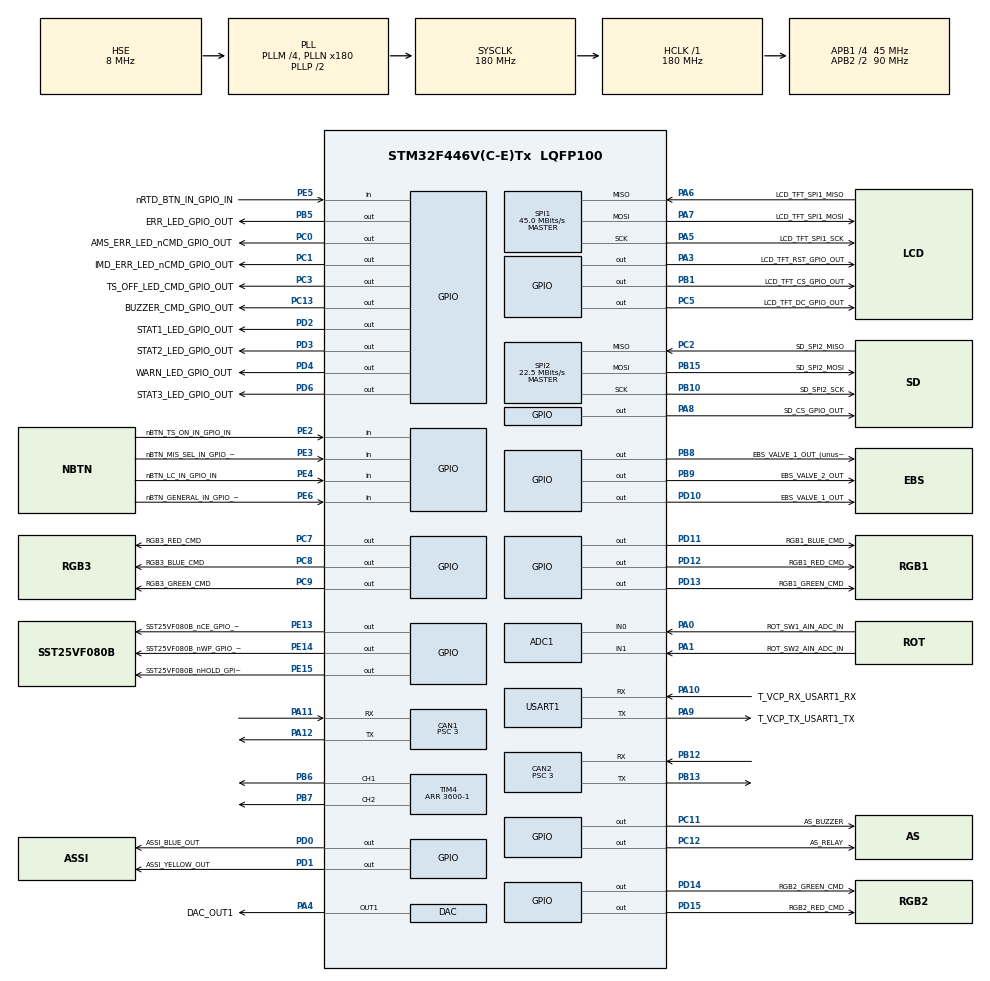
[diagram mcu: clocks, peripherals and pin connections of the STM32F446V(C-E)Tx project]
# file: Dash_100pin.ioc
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ADC1.Channel-0\#ChannelRegularConversion=ADC_CHANNEL_0
ADC1.Channel-1\#ChannelRegularConversion=ADC_CHANNEL_1
ADC1.ClockPrescaler=ADC_CLOCK_SYNC_PCLK_DIV4
ADC1.DMAContinuousRequests=ENABLE
ADC1.EOCSelection=ADC_EOC_SEQ_CONV
ADC1.ExternalTrigConv=ADC_EXTERNALTRIGCONV_T2_TRGO
ADC1.NbrOfConversion=2
ADC1.NbrOfConversionFlag=1
ADC1.Rank-0\#ChannelRegularConversion=1
ADC1.Rank-1\#ChannelRegularConversion=2
ADC1.SamplingTime-0\#ChannelRegularConversion=ADC_SAMPLETIME_480CYCLES
ADC1.SamplingTime-1\#ChannelRegularConversion=ADC_SAMPLETIME_480CYCLES
ADC1.ScanConvMode=ENABLE
ADC1.master=1
CAN1.ABOM=ENABLE
CAN1.BS1=CAN_BS1_12TQ
CAN1.BS2=CAN_BS2_2TQ
CAN1.CalculateBaudRate=1000000
CAN1.CalculateTimeBit=1000
CAN1.CalculateTimeQuantum=66.66666666666666
CAN1.Prescaler=3
CAN2.ABOM=ENABLE
CAN2.BS1=CAN_BS1_12TQ
CAN2.BS2=CAN_BS2_2TQ
CAN2.CalculateBaudRate=1000000
CAN2.CalculateTimeBit=1000
CAN2.CalculateTimeQuantum=66.66666666666666
CAN2.Prescaler=3
Dma.ADC1.1.Direction=DMA_PERIPH_TO_MEMORY
Dma.ADC1.1.FIFOMode=DMA_FIFOMODE_DISABLE
Dma.ADC1.1.Instance=DMA2_Stream0
Dma.ADC1.1.MemDataAlignment=DMA_MDATAALIGN_HALFWORD
Dma.ADC1.1.MemInc=DMA_MINC_ENABLE
Dma.ADC1.1.Mode=DMA_CIRCULAR
Dma.ADC1.1.PeriphDataAlignment=DMA_PDATAALIGN_HALFWORD
Dma.ADC1.1.PeriphInc=DMA_PINC_DISABLE
Dma.ADC1.1.Priority=DMA_PRIORITY_LOW
Dma.Request0=SPI1_TX
Dma.Request1=ADC1
Dma.SPI1_TX.0.Direction=DMA_MEMORY_TO_PERIPH
Dma.SPI1_TX.0.FIFOMode=DMA_FIFOMODE_DISABLE
Dma.SPI1_TX.0.Instance=DMA2_Stream3
Dma.SPI1_TX.0.MemDataAlignment=DMA_MDATAALIGN_BYTE
Dma.SPI1_TX.0.MemInc=DMA_MINC_ENABLE
Dma.SPI1_TX.0.Mode=DMA_NORMAL
Dma.SPI1_TX.0.PeriphDataAlignment=DMA_PDATAALIGN_BYTE
Dma.SPI1_TX.0.PeriphInc=DMA_PINC_DISABLE
Dma.SPI1_TX.0.Priority=DMA_PRIORITY_LOW
Mcu.Family=STM32F4
Mcu.Name=STM32F446V(C-E)Tx
Mcu.Package=LQFP100
NVIC.ADC_IRQn=true\:0\:0\:false\:false\:true\:true\:true\:true
NVIC.CAN1_RX0_IRQn=true\:0\:0\:false\:false\:true\:true\:true\:true
NVIC.CAN1_RX1_IRQn=true\:0\:0\:false\:false\:true\:true\:true\:true
NVIC.CAN1_TX_IRQn=true\:0\:0\:false\:false\:true\:true\:true\:true
NVIC.CAN2_RX0_IRQn=true\:0\:0\:false\:false\:true\:true\:true\:true
NVIC.CAN2_RX1_IRQn=true\:0\:0\:false\:false\:true\:true\:true\:true
NVIC.CAN2_TX_IRQn=true\:0\:0\:false\:false\:true\:true\:true\:true
NVIC.DMA2_Stream0_IRQn=true\:0\:0\:false\:false\:true\:false\:true\:true
NVIC.DMA2_Stream3_IRQn=true\:0\:0\:false\:false\:true\:false\:true\:true
NVIC.PriorityGroup=NVIC_PRIORITYGROUP_4
NVIC.SPI1_IRQn=true\:0\:0\:false\:false\:true\:true\:true\:true
NVIC.TIM2_IRQn=true\:0\:0\:false\:false\:true\:true\:true\:true
NVIC.TIM7_IRQn=true\:0\:0\:false\:false\:true\:true\:true\:true
PA0-WKUP.GPIO_Label=ROT_SW1_AIN_ADC_IN
PA0-WKUP.Signal=ADCx_IN0
PA1.GPIO_Label=ROT_SW2_AIN_ADC_IN
PA1.Signal=ADCx_IN1
PA10.GPIO_Label=T_VCP_RX_USART1_RX
PA10.Mode=Asynchronous
PA10.Signal=USART1_RX
PA11.Mode=CAN_Activate
PA11.Signal=CAN1_RX
PA12.Mode=CAN_Activate
PA12.Signal=CAN1_TX
PA13.Mode=JTAG_4_pins
PA13.Signal=SYS_JTMS-SWDIO
PA14.Mode=JTAG_4_pins
PA14.Signal=SYS_JTCK-SWCLK
PA15.Mode=JTAG_4_pins
PA15.Signal=SYS_JTDI
PA2.GPIO_Label=SDC_IN_3V3_ADC1_IN2
PA2.Signal=ADCx_IN2
PA3.GPIO_Label=LCD_TFT_RST_GPIO_OUT
PA3.PinState=GPIO_PIN_SET
PA3.Signal=GPIO_Output
PA4.GPIO_Label=DAC_OUT1
PA4.Signal=COMP_DAC1_group
PA5.GPIO_Label=LCD_TFT_SPI1_SCK
PA5.Mode=Full_Duplex_Master
PA5.Signal=SPI1_SCK
PA6.GPIO_Label=LCD_TFT_SPI1_MISO
PA6.Mode=Full_Duplex_Master
PA6.Signal=SPI1_MISO
PA7.GPIO_Label=LCD_TFT_SPI1_MOSI
PA7.Mode=Full_Duplex_Master
PA7.Signal=SPI1_MOSI
PA8.GPIO_Label=SD_CS_GPIO_OUT
PA8.Signal=GPIO_Output
PA9.GPIO_Label=T_VCP_TX_USART1_TX
PA9.Mode=Asynchronous
PA9.Signal=USART1_TX
PB1.GPIO_Label=LCD_TFT_CS_GPIO_OUT
PB1.GPIO_Speed=GPIO_SPEED_FREQ_VERY_HIGH
PB1.Signal=GPIO_Output
PB10.GPIO_Label=SD_SPI2_SCK
PB10.Mode=Full_Duplex_Master
PB10.Signal=SPI2_SCK
PB12.Mode=CAN_Activate
PB12.Signal=CAN2_RX
PB13.Mode=CAN_Activate
PB13.Signal=CAN2_TX
PB15.GPIO_Label=SD_SPI2_MOSI
PB15.Mode=Full_Duplex_Master
PB15.Signal=SPI2_MOSI
PB3.Mode=JTAG_4_pins
PB3.Signal=SYS_JTDO-SWO
PB5.GPIO_Label=ERR_LED_GPIO_OUT
PB5.Signal=GPIO_Output
PB6.Signal=S_TIM4_CH1
PB7.Signal=S_TIM4_CH2
PB8.GPIO_Label=EBS_VALVE_1_OUT_(unused)
PB8.Signal=GPIO_Output
PB9.GPIO_Label=EBS_VALVE_2_OUT
PB9.Signal=GPIO_Output
PC0.GPIO_Label=AMS_ERR_LED_nCMD_GPIO_OUT
PC0.Signal=GPIO_Output
PC1.GPIO_Label=IMD_ERR_LED_nCMD_GPIO_OUT
PC1.Signal=GPIO_Output
PC11.GPIO_Label=AS_BUZZER
PC11.Signal=GPIO_Output
PC12.GPIO_Label=AS_RELAY
PC12.GPIO_PuPd=GPIO_NOPULL
PC12.Signal=GPIO_Output
PC13.GPIO_Label=BUZZER_CMD_GPIO_OUT
PC13.Signal=GPIO_Output
PC2.GPIO_Label=SD_SPI2_MISO
PC2.Mode=Full_Duplex_Master
PC2.Signal=SPI2_MISO
PC3.GPIO_Label=TS_OFF_LED_CMD_GPIO_OUT
PC3.Signal=GPIO_Output
PC5.GPIO_Label=LCD_TFT_DC_GPIO_OUT
PC5.GPIO_Speed=GPIO_SPEED_FREQ_VERY_HIGH
PC5.PinState=GPIO_PIN_SET
PC5.Signal=GPIO_Output
PC7.GPIO_Label=RGB3_RED_CMD
PC7.Signal=GPIO_Output
PC8.GPIO_Label=RGB3_BLUE_CMD
PC8.Signal=GPIO_Output
PC9.GPIO_Label=RGB3_GREEN_CMD
PC9.Signal=GPIO_Output
PD0.GPIO_Label=ASSI_BLUE_OUT
PD0.GPIO_PuPd=GPIO_NOPULL
PD0.Signal=GPIO_Output
PD1.GPIO_Label=ASSI_YELLOW_OUT
PD1.GPIO_PuPd=GPIO_NOPULL
PD1.Signal=GPIO_Output
PD10.GPIO_Label=EBS_VALVE_1_OUT
PD10.Signal=GPIO_Output
PD11.GPIO_Label=RGB1_BLUE_CMD
PD11.Signal=GPIO_Output
PD12.GPIO_Label=RGB1_RED_CMD
PD12.Signal=GPIO_Output
PD13.GPIO_Label=RGB1_GREEN_CMD
PD13.Signal=GPIO_Output
PD14.GPIO_Label=RGB2_GREEN_CMD
PD14.Signal=GPIO_Output
PD15.GPIO_Label=RGB2_RED_CMD
PD15.Signal=GPIO_Output
PD2.GPIO_Label=STAT1_LED_GPIO_OUT
PD2.Signal=GPIO_Output
PD3.GPIO_Label=STAT2_LED_GPIO_OUT
PD3.Signal=GPIO_Output
PD4.GPIO_Label=WARN_LED_GPIO_OUT
PD4.Signal=GPIO_Output
PD6.GPIO_Label=STAT3_LED_GPIO_OUT
PD6.Signal=GPIO_Output
PE13.GPIO_Label=SST25VF080B_nCE_GPIO_OUT
PE13.Signal=GPIO_Output
PE14.GPIO_Label=SST25VF080B_nWP_GPIO_OUT
PE14.Signal=GPIO_Output
PE15.GPIO_Label=SST25VF080B_nHOLD_GPIO_OUT
PE15.Signal=GPIO_Output
PE2.GPIO_Label=nBTN_TS_ON_IN_GPIO_IN
PE2.Signal=GPIO_Input
PE3.GPIO_Label=nBTN_MIS_SEL_IN_GPIO_IN
PE3.Signal=GPIO_Input
PE4.GPIO_Label=nBTN_LC_IN_GPIO_IN
PE4.Signal=GPIO_Input
PE5.GPIO_Label=nRTD_BTN_IN_GPIO_IN
PE5.Signal=GPIO_Input
PE6.GPIO_Label=nBTN_GENERAL_IN_GPIO_IN
PE6.Signal=GPIO_Input
PH0-OSC_IN.Mode=HSE-External-Oscillator
PH0-OSC_IN.Signal=RCC_OSC_IN
PH1-OSC_OUT.Mode=HSE-External-Oscillator
PH1-OSC_OUT.Signal=RCC_OSC_OUT
ProjectManager.HeapSize=0x200
ProjectManager.StackSize=0x400
ProjectManager.TargetToolchain=Makefile
RCC.AHBFreq_Value=180000000
RCC.APB1CLKDivider=RCC_HCLK_DIV4
RCC.APB1Freq_Value=45000000
RCC.APB1TimFreq_Value=90000000
RCC.APB2CLKDivider=RCC_HCLK_DIV2
RCC.APB2Freq_Value=90000000
RCC.APB2TimFreq_Value=180000000
RCC.CortexFreq_Value=180000000
RCC.HCLKFreq_Value=180000000
RCC.HSE_VALUE=8000000
RCC.PLLM=4
RCC.PLLN=180
RCC.PLLSourceVirtual=RCC_PLLSOURCE_HSE
RCC.SYSCLKFreq_VALUE=180000000
RCC.SYSCLKSource=RCC_SYSCLKSOURCE_PLLCLK
RCC.USBFreq_Value=180000000
RCC.VCOOutputFreq_Value=360000000
SH.ADCx_IN0.0=ADC1_IN0,IN0
SH.ADCx_IN1.0=ADC1_IN1,IN1
SH.ADCx_IN2.0=ADC1_IN2
SH.COMP_DAC1_group.0=DAC_OUT1,DAC_OUT1
SH.S_TIM4_CH1.0=TIM4_CH1,PWM Generation1 CH1
SH.S_TIM4_CH2.0=TIM4_CH2,PWM Generation2 CH2
SPI1.BaudRatePrescaler=SPI_BAUDRATEPRESCALER_2
SPI1.CalculateBaudRate=45.0 MBits/s
SPI1.Direction=SPI_DIRECTION_2LINES
SPI1.Mode=SPI_MODE_MASTER
SPI1.VirtualType=VM_MASTER
SPI2.BaudRatePrescaler=SPI_BAUDRATEPRESCALER_2
SPI2.CalculateBaudRate=22.5 MBits/s
SPI2.Direction=SPI_DIRECTION_2LINES
SPI2.Mode=SPI_MODE_MASTER
SPI2.VirtualType=VM_MASTER
TIM10.Period=3600-1
TIM11.Period=3600-1
TIM2.Period=10-1
TIM2.Prescaler=9000-1
TIM2.TIM_MasterOutputTrigger=TIM_TRGO_UPDATE
TIM4.Channel-PWM\ Generation1\ CH1=TIM_CHANNEL_1
TIM4.Channel-PWM\ Generation2\ CH2=TIM_CHANNEL_2
TIM4.OCPolarity_1=TIM_OCPOLARITY_LOW
TIM4.OCPolarity_2=TIM_OCPOLARITY_LOW
TIM4.Period=3600-1
TIM7.AutoReloadPreload=TIM_AUTORELOAD_PRELOAD_ENABLE
TIM7.Period=10-1
TIM7.Prescaler=900-1
USART1.VirtualMode=VM_ASYNC
VP_TIM10_VS_ClockSourceINT.Mode=Enable_Timer
VP_TIM11_VS_ClockSourceINT.Mode=Enable_Timer
VP_TIM2_VS_ClockSourceINT.Mode=Internal
VP_TIM4_VS_ClockSourceINT.Mode=Internal
VP_TIM7_VS_ClockSourceINT.Mode=Enable_Timer
board=custom

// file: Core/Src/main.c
/* USER CODE BEGIN Header */
/**
  ******************************************************************************
  * @file           : main.c
  * @brief          : Main program body
  ******************************************************************************
  * @attention
  *
  * Copyright (c) 2024 STMicroelectronics.
  * All rights reserved.
  *
  * This software is licensed under terms that can be found in the LICENSE file
  * in the root directory of this software component.
  * If no LICENSE file comes with this software, it is provided AS-IS.
  *
  ******************************************************************************
  */
/* USER CODE END Header */
#include "main.h"
#include "adc.h"
#include "can.h"
#include "dac.h"
#include "dma.h"
#include "spi.h"
#include "tim.h"
#include "usart.h"
#include "gpio.h"

/* USER CODE BEGIN Includes */
#include "bsp.h"
#include "dashboard.h"
#include "lvgl.h"
#include <stdio.h>
/* USER CODE END Includes */

/* USER CODE BEGIN PV */
/*UART1 variabls*/
char msg[80]   = "";
char value[60] = "";
/* USER CODE END PV */

void SystemClock_Config(void);

int main(void)
{

  /* USER CODE BEGIN 1 */
  uint32_t AS_EM_time = 0;
  uint32_t WD_time = 0;
  int AS_EM_flag = 1;
  /* USER CODE END 1 */

  /* MCU Configuration--------------------------------------------------------*/

  /* Reset of all peripherals, Initializes the Flash interface and the Systick. */
  HAL_Init();

  /* Configure the system clock */
  SystemClock_Config();

  /* Initialize all configured peripherals */
  MX_GPIO_Init();
  MX_DMA_Init();
  MX_ADC1_Init();
  MX_CAN2_Init();
  MX_DAC_Init();
  MX_CAN1_Init();
  MX_SPI1_Init();
  MX_SPI2_Init();
  MX_USART1_UART_Init();
  MX_TIM2_Init();
  MX_TIM7_Init();
  MX_TIM4_Init();
  MX_TIM10_Init();
  MX_TIM11_Init();
  /* USER CODE BEGIN 2 */
    // Start the counter
    HAL_TIM_Base_Start_IT(&COUNTER_TIM);

    Dashboard_Setup();
    Display_Setup();
  /* USER CODE END 2 */

  /* Infinite loop */
  /* USER CODE BEGIN WHILE */
    while (1) {
      Dashboard_Loop(&AS_EM_time, &AS_EM_flag, &WD_time);
      Display_Loop();
    /* USER CODE END WHILE */

    /* USER CODE BEGIN 3 */
        lv_timer_periodic_handler();
    }
  /* USER CODE END 3 */
}

void SystemClock_Config(void)
{
  RCC_OscInitTypeDef RCC_OscInitStruct = {0};
  RCC_ClkInitTypeDef RCC_ClkInitStruct = {0};

  /** Configure the main internal regulator output voltage
  */
  __HAL_RCC_PWR_CLK_ENABLE();
  __HAL_PWR_VOLTAGESCALING_CONFIG(PWR_REGULATOR_VOLTAGE_SCALE1);

  /** Initializes the RCC Oscillators according to the specified parameters
  * in the RCC_OscInitTypeDef structure.
  */
  RCC_OscInitStruct.OscillatorType = RCC_OSCILLATORTYPE_HSE;
  RCC_OscInitStruct.HSEState = RCC_HSE_ON;
  RCC_OscInitStruct.PLL.PLLState = RCC_PLL_ON;
  RCC_OscInitStruct.PLL.PLLSource = RCC_PLLSOURCE_HSE;
  RCC_OscInitStruct.PLL.PLLM = 4;
  RCC_OscInitStruct.PLL.PLLN = 180;
  RCC_OscInitStruct.PLL.PLLP = RCC_PLLP_DIV2;
  RCC_OscInitStruct.PLL.PLLQ = 2;
  RCC_OscInitStruct.PLL.PLLR = 2;
  if (HAL_RCC_OscConfig(&RCC_OscInitStruct) != HAL_OK)
  {
    Error_Handler();
  }

  /** Activate the Over-Drive mode
  */
  if (HAL_PWREx_EnableOverDrive() != HAL_OK)
  {
    Error_Handler();
  }

  /** Initializes the CPU, AHB and APB buses clocks
  */
  RCC_ClkInitStruct.ClockType = RCC_CLOCKTYPE_HCLK|RCC_CLOCKTYPE_SYSCLK
                              |RCC_CLOCKTYPE_PCLK1|RCC_CLOCKTYPE_PCLK2;
  RCC_ClkInitStruct.SYSCLKSource = RCC_SYSCLKSOURCE_PLLCLK;
  RCC_ClkInitStruct.AHBCLKDivider = RCC_SYSCLK_DIV1;
  RCC_ClkInitStruct.APB1CLKDivider = RCC_HCLK_DIV4;
  RCC_ClkInitStruct.APB2CLKDivider = RCC_HCLK_DIV2;

  if (HAL_RCC_ClockConfig(&RCC_ClkInitStruct, FLASH_LATENCY_5) != HAL_OK)
  {
    Error_Handler();
  }
}

void Error_Handler(void)
{
    __disable_irq();
    while (1) {
    }
}

#ifdef  USE_FULL_ASSERT
/**
  * @brief  Reports the name of the source file and the source line number
  *         where the assert_param error has occurred.
  * @param  file: pointer to the source file name
  * @param  line: assert_param error line source number
  * @retval None
  */
void assert_failed(uint8_t *file, uint32_t line)
{
  /* USER CODE BEGIN 6 */
    /* User can add his own implementation to report the file name and line number,
       eg: printf("Wrong parameters value: file %s on line %d\r\n", file, line) */
  /* USER CODE END 6 */
}
#endif /* USE_FULL_ASSERT */
